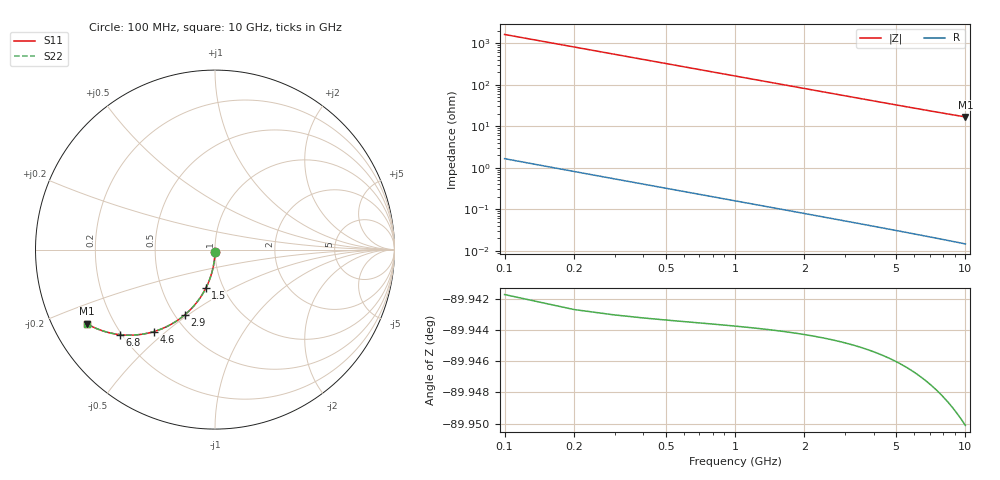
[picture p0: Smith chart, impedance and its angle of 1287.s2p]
# Hz S RI R 50.00
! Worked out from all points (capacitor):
!   100 points, 100 MHz to 10 GHz, reference 50 ohm
!   read as one part in shunt: C = 985 fF near 100 MHz
!   lowest |Z| = 16.7 ohm at 10 GHz (marker M1)
!   S11 on the Smith chart (normalised r, x): 100 MHz: 1.00, -0.03; 1.5 GHz: 0.83, -0.37; 2.9 GHz: 0.56, -0.49; 4.6 GHz: 0.34, -0.46; 6.8 GHz: 0.19, -0.37; 10 GHz: 0.10, -0.27
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1e8  -0.00019 -0.0151  0.9997 -0.0158  0.9997 -0.0158  -0.00019 -0.0151
2e8  -0.000922 -0.0302  0.9989 -0.0316  0.9989 -0.0316  -0.000922 -0.0302
3e8  -0.00213 -0.0452  0.9977 -0.0474  0.9977 -0.0474  -0.00213 -0.0452
4e8  -0.00381 -0.0602  0.9961 -0.0631  0.9961 -0.0631  -0.00381 -0.0602
5e8  -0.00596 -0.0751  0.9939 -0.0787  0.9939 -0.0787  -0.00596 -0.0751
6e8  -0.00857 -0.0899  0.9913 -0.0942  0.9913 -0.0942  -0.00857 -0.0899
7e8  -0.0116 -0.1046  0.9882 -0.1096  0.9882 -0.1096  -0.0116 -0.1046
9e8  -0.0191 -0.1334  0.9808 -0.1398  0.9808 -0.1398  -0.0191 -0.1334
1.2e9  -0.0335 -0.1753  0.9664 -0.1838  0.9664 -0.1838  -0.0335 -0.1753
1.5e9  -0.0513 -0.215  0.9485 -0.2257  0.9485 -0.2257  -0.0513 -0.215
1.8e9  -0.0723 -0.2523  0.9274 -0.2652  0.9274 -0.2652  -0.0723 -0.2523
2.3e9  -0.1131 -0.3081  0.8867 -0.3246  0.8867 -0.3246  -0.1131 -0.3081
2.9e9  -0.1688 -0.3638  0.8309 -0.3846  0.8309 -0.3846  -0.1688 -0.3638
3.4e9  -0.2185 -0.4006  0.781 -0.4251  0.781 -0.4251  -0.2185 -0.4006
4e9  -0.2795 -0.434  0.7199 -0.4628  0.7199 -0.4628  -0.2795 -0.434
4.6e9  -0.3397 -0.4566  0.6596 -0.4899  0.6596 -0.4899  -0.3397 -0.4566
5.1e9  -0.388 -0.4683  0.6112 -0.5054  0.6112 -0.5054  -0.388 -0.4683
5.9e9  -0.46 -0.4764  0.539 -0.5195  0.539 -0.5195  -0.46 -0.4764
6.7e9  -0.5245 -0.4743  0.4741 -0.5235  0.4741 -0.5235  -0.5245 -0.4743
6.8e9  -0.532 -0.4734  0.4666 -0.5234  0.4666 -0.5234  -0.532 -0.4734
8.4e9  -0.6364 -0.449  0.3615 -0.5114  0.3615 -0.5114  -0.6364 -0.449
1e10  -0.7147 -0.4127  0.2823 -0.4879  0.2823 -0.4879  -0.7147 -0.4127
